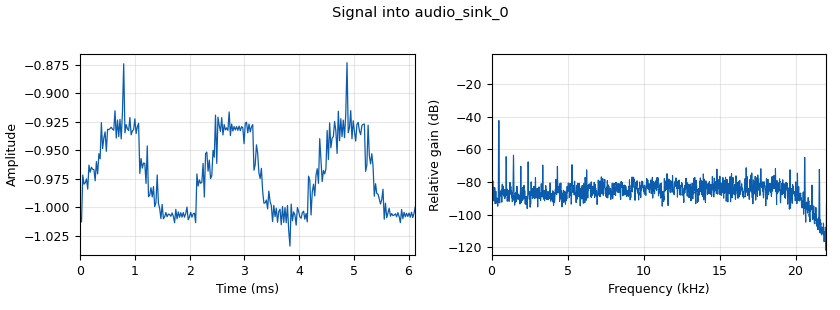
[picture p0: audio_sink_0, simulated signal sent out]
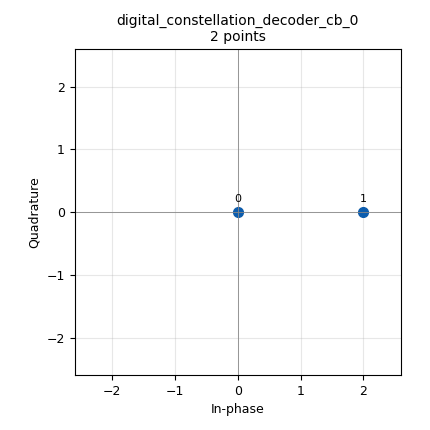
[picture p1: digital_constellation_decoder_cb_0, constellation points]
options:
  parameters:
    author: slamnia
    generate_options: qt_gui
    id: Emission_AM
    output_language: python
    title: Emission_AM
  states: {}

blocks:
- name: center_freq
  id: variable
  parameters:
    value: '500000000'
  states: {}
- name: loop_bandwidth
  id: variable
  parameters:
    value: '0.06'
  states: {}
- name: ook
  id: variable_constellation
  parameters:
    const_points: '[0, 1]'
    dims: '1'
    normalization: digital.constellation.AMPLITUDE_NORMALIZATION
    precision: '8'
    rot_sym: '1'
    sym_map: '[0, 1]'
    type: calcdist
  states: {}
- name: pskType
  id: variable
  parameters:
    value: '2'
  states: {}
- name: sampPerSymbol
  id: variable
  parameters:
    value: '2'
  states: {}
- name: samp_rate
  id: variable
  parameters:
    value: '44100'
  states: {}
- name: analog_sig_source_x_0
  id: analog_sig_source_x
  parameters:
    amp: '1'
    freq: '963'
    offset: '0'
    phase: '0'
    samp_rate: samp_rate
    type: float
    waveform: analog.GR_SIN_WAVE
  states: {}
- name: audio_sink_0
  id: audio_sink
  parameters:
    samp_rate: samp_rate
  states: {}
- name: blocks_wavfile_source_0
  id: blocks_wavfile_source
  parameters:
    file: /home/gnuradio/Downloads/guitar.wav
    repeat: 'True'
  states: {state: disabled}
- name: digital_constellation_decoder_cb_0
  id: digital_constellation_decoder_cb
  parameters:
    constellation: ook
  states: {}
- name: digital_constellation_modulator_0
  id: digital_constellation_modulator
  parameters:
    constellation: ook
    differential: 'False'
    excess_bw: '0.35'
    samples_per_symbol: '2'
  states: {}
- name: iio_pluto_sink_0
  id: iio_pluto_sink
  parameters:
    attenuation1: '10.0'
    bandwidth: '20000000'
    buffer_size: '32768'
    cyclic: 'False'
    filter_source: '''Auto'''
    frequency: '2400000000'
    samplerate: samp_rate
    type: fc32
  states: {state: disabled}
- name: qtgui_const_sink_x_0
  id: qtgui_const_sink_x
  parameters:
    size: '1024'
    type: complex
  states: {state: disabled}
- name: qtgui_time_sink_x_0
  id: qtgui_time_sink_x
  parameters:
    size: '1024'
    srate: samp_rate
    type: complex
  states: {state: disabled}
- name: rational_resampler_xxx_0
  id: rational_resampler_xxx
  parameters:
    decim: '8'
    interp: '1'
    type: fff
  states: {}
- name: vocoder_cvsd_decode_bf_0
  id: vocoder_cvsd_decode_bf
  parameters:
    bw: '0.5'
    resample: '8'
  states: {}
- name: vocoder_cvsd_encode_fb_0
  id: vocoder_cvsd_encode_fb
  parameters:
    bw: '0.5'
    resample: '8'
  states: {}

connections:
- [analog_sig_source_x_0, '0', vocoder_cvsd_encode_fb_0, '0']
- [blocks_wavfile_source_0, '0', vocoder_cvsd_encode_fb_0, '0']
- [digital_constellation_decoder_cb_0, '0', vocoder_cvsd_decode_bf_0, '0']
- [digital_constellation_modulator_0, '0', digital_constellation_decoder_cb_0, '0']
- [digital_constellation_modulator_0, '0', iio_pluto_sink_0, '0']
- [digital_constellation_modulator_0, '0', qtgui_const_sink_x_0, '0']
- [digital_constellation_modulator_0, '0', qtgui_time_sink_x_0, '0']
- [rational_resampler_xxx_0, '0', audio_sink_0, '0']
- [vocoder_cvsd_decode_bf_0, '0', rational_resampler_xxx_0, '0']
- [vocoder_cvsd_encode_fb_0, '0', digital_constellation_modulator_0, '0']

metadata:
  file_format: 1
  grc_version: 3.10.5.1
